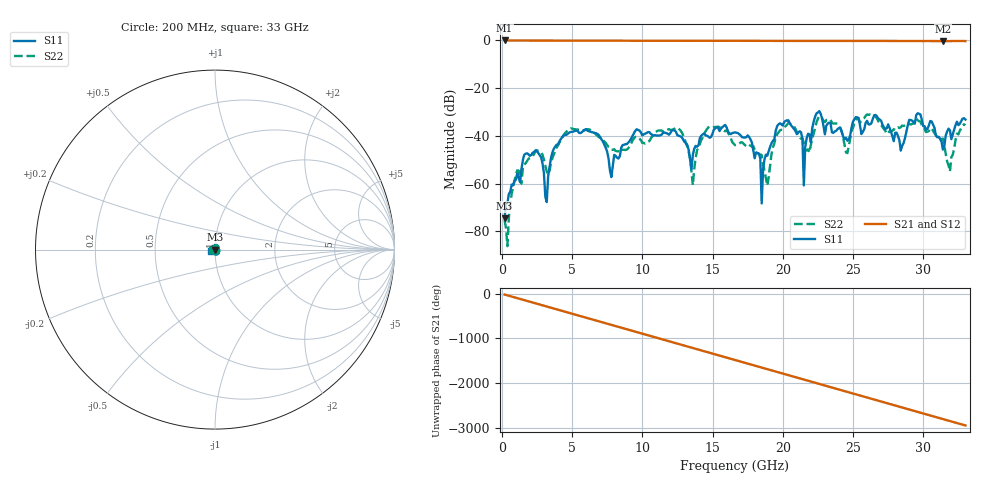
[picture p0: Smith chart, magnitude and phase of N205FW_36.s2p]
# GHZ S RI R 50
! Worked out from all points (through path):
!   329 points, 200 MHz to 33 GHz, reference 50 ohm
!   highest |S21| = -0.02 dB at 200 MHz (marker M1); lowest = -0.3 dB at 31.4 GHz (marker M2)
!   group delay of S21, straight-line fit = 248 ps
!   lowest |S11| = -74.5 dB at 200 MHz (marker M3), VSWR 1.00, Z = 50 + j0.00157 ohm
!   |S11| at or under -10 dB: start of sweep to end of sweep
!   |S22| runs from -86.2 to -31.0 dB; largest |S21 - S12| = 0.0022
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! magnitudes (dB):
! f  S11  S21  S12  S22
! 200 MHz  -74.5  0.0  0.0  -75.2
! 1.6 GHz  -47.9  -0.1  -0.1  -51.9
! 3.2 GHz  -67.8  -0.1  -0.1  -54.9
! 3.7 GHz  -45.5  -0.1  -0.1  -47.8
! 5.7 GHz  -38.4  -0.1  -0.1  -37.7
! 7.8 GHz  -57.3  -0.1  -0.1  -45.8
! 11.2 GHz  -39.9  -0.2  -0.2  -37.7
! 12.8 GHz  -40.5  -0.2  -0.2  -38.5
! 13.6 GHz  -48.0  -0.2  -0.2  -60.7
! 14.7 GHz  -40.3  -0.2  -0.2  -36.4
! 16.6 GHz  -38.6  -0.2  -0.2  -43.9
! 18.3 GHz  -47.4  -0.2  -0.2  -47.7
! 18.5 GHz  -68.3  -0.2  -0.2  -48.0
! 18.9 GHz  -48.3  -0.2  -0.2  -60.9
! 19.6 GHz  -35.9  -0.2  -0.2  -39.3
! 21.3 GHz  -38.5  -0.2  -0.2  -41.2
! 21.5 GHz  -60.8  -0.2  -0.2  -42.9
! 22.1 GHz  -36.7  -0.2  -0.2  -40.9
! 27.6 GHz  -36.6  -0.2  -0.2  -38.0
! 31.4 GHz  -45.8  -0.3  -0.3  -41.1
! 31.9 GHz  -37.6  -0.3  -0.3  -54.9
! 33 GHz  -33.2  -0.3  -0.3  -35.6
